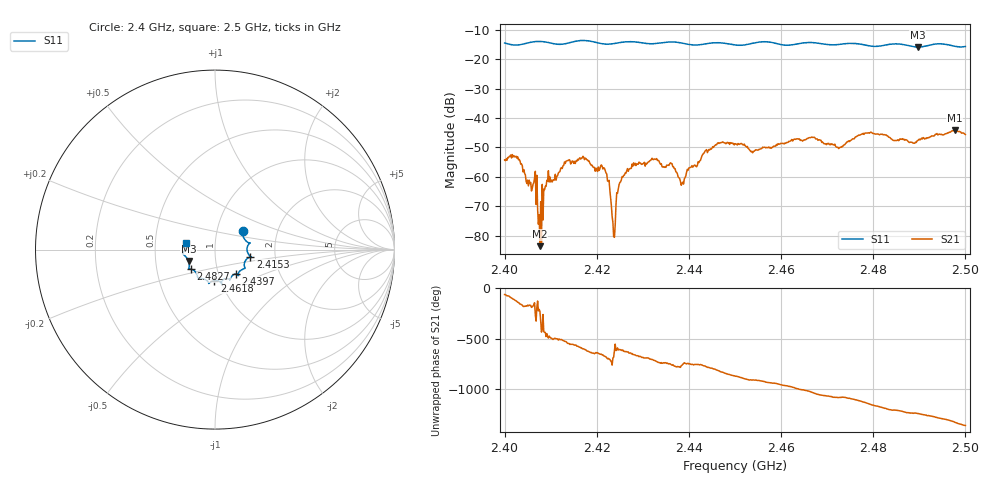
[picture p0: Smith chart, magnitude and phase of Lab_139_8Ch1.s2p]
# Hz S RI R
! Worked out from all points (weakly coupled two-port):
!   601 points, 2.4 GHz to 2.5 GHz, reference 50 ohm
!   highest |S21| = -44.09 dB at 2.4977 GHz (marker M1); lowest = -83.5 dB at 2.4077 GHz (marker M2)
!   lowest |S11| = -15.9 dB at 2.4897 GHz (marker M3), VSWR 1.38, Z = 36.9 - j4.81 ohm
!   |S11| at or under -10 dB: start of sweep to end of sweep
!   S12 and S22 are empty: the file has one direction only
!   S11 on the Smith chart (normalised r, x): 2.4 GHz: 1.33, +0.29; 2.4153 GHz: 1.48, -0.12; 2.4397 GHz: 1.21, -0.34; 2.4618 GHz: 0.94, -0.33; 2.4827 GHz: 0.75, -0.17; 2.5 GHz: 0.72, +0.06
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2.4e9  0.1549 0.1064  0.000952 -0.00169  0 0  0 0
2.402833e9  0.1624 0.0614  -0.00161 -0.00151  0 0  0 0
2.4065e9  0.1938 0.0376  -0.000758 -0.000583  0 0  0 0
2.407667e9  0.1958 0.0382  -4.41e-05 5e-05  0 0  0 0
2.409333e9  0.1897 0.033  -0.000398 -0.000759  0 0  0 0
2.415333e9  0.1968 -0.039  -0.00156 0.000638  0 0  0 0
2.416667e9  0.2028 -0.0431  -0.00135 0.00158  0 0  0 0
2.421667e9  0.1701 -0.0606  0.000954 0.00103  0 0  0 0
2.423667e9  0.1628 -0.0846  7.75e-05 5.88e-05  0 0  0 0
2.424833e9  0.1645 -0.0957  -0.000268 0.000686  0 0  0 0
2.426167e9  0.1675 -0.1022  -1.52e-05 0.00117  0 0  0 0
2.433333e9  0.13 -0.134  0.00184 -0.00052  0 0  0 0
2.438333e9  0.1268 -0.1391  0.000479 -0.000539  0 0  0 0
2.439667e9  0.1168 -0.1362  0.00121 -0.000591  0 0  0 0
2.45e9  0.065 -0.1617  -0.00322 -0.00176  0 0  0 0
2.461833e9  -0.00298 -0.1729  -0.0011 0.00384  0 0  0 0
2.466667e9  -0.0346 -0.1882  0.0033 0.00344  0 0  0 0
2.482667e9  -0.1349 -0.1088  -0.00198 -0.00475  0 0  0 0
2.483333e9  -0.1401 -0.1085  -0.00263 -0.00393  0 0  0 0
2.489667e9  -0.1472 -0.0635  -0.00401 -0.0011  0 0  0 0
2.497667e9  -0.1656 0.000869  -0.00207 0.00589  0 0  0 0
2.5e9  -0.1592 0.0389  0.00116 0.00511  0 0  0 0
